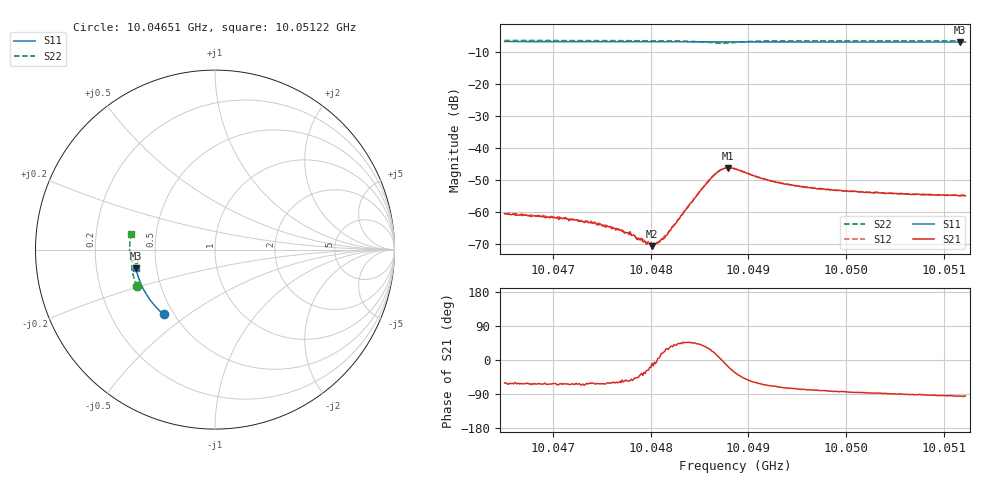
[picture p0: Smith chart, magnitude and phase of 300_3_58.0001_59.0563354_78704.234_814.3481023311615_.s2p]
#  HZ  S  RI  R  50.00
! Rohde & Schwarz Vector Network Analyzer
! Rohde-Schwarz,ZNB20-2Port,1311601062101988,3.16
! Created: UTC 3/21/2024, 1:03:46 AM
! freq[Hz]  re:S11  im:S11  re:S21  im:S21  re:S12  im:S12  re:S22  im:S22
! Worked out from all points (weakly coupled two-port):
!   401 points, 10.04651 GHz to 10.05122 GHz, reference 50 ohm
!   highest |S21| = -46.21 dB at 10.04879 GHz (marker M1); lowest = -70.6 dB at 10.04802 GHz (marker M2)
!   lowest |S11| = -6.9 dB at 10.05116 GHz (marker M3), VSWR 2.65, Z = 19.1 - j4.98 ohm
!   |S11| at or under -10 dB: nowhere
!   |S22| runs from -7.3 to -6.4 dB; largest |S21 - S12| = 0.00034
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1.0046509e10  -0.2862 -0.3615  0.000463 -0.000822  0.000526 -0.000782  -0.4338 -0.2045
1.0047074e10  -0.3138 -0.3361  0.000371 -0.000725  0.000409 -0.000718  -0.4477 -0.1689
1.0047297e10  -0.324 -0.3256  0.000297 -0.000658  0.000382 -0.000653  -0.4526 -0.1544
1.0047415e10  -0.3294 -0.3199  0.000319 -0.000587  0.00033 -0.000579  -0.4548 -0.1464
1.0047686e10  -0.3412 -0.3065  0.000288 -0.000432  0.000311 -0.000446  -0.4594 -0.1279
1.0047815e10  -0.3465 -0.2998  0.000255 -0.000351  0.000286 -0.000314  -0.4612 -0.1185
1.0047944e10  -0.3518 -0.2931  0.000294 -0.000211  0.000312 -0.000154  -0.4626 -0.1088
1.0048015e10  -0.3547 -0.2894  0.00029 -4.53e-05  0.000317 -6.63e-05  -0.4633 -0.1033
1.0048039e10  -0.3556 -0.2883  0.000303 -3.06e-05  0.000332 -4.73e-05  -0.4633 -0.1013
1.0048086e10  -0.3575 -0.2856  0.000337 2.86e-05  0.000352 2.98e-05  -0.4635 -0.0977
1.0048156e10  -0.3604 -0.2819  0.000377 0.000212  0.00039 0.000193  -0.4637 -0.0919
1.0048497e10  -0.3732 -0.2635  0.00154 0.00137  0.00147 0.00145  -0.4547 -0.0603
1.0048615e10  -0.3773 -0.2569  0.003 0.00151  0.00294 0.00169  -0.4411 -0.0536
1.0048709e10  -0.3803 -0.2518  0.00447 0.000356  0.00449 0.000612  -0.4292 -0.0603
1.0048792e10  -0.3832 -0.2475  0.00467 -0.00146  0.00482 -0.00121  -0.4303 -0.0729
1.0048862e10  -0.3857 -0.2434  0.00394 -0.00258  0.00415 -0.00237  -0.4394 -0.0783
1.0049227e10  -0.3976 -0.2225  0.00112 -0.00284  0.00131 -0.00281  -0.4684 -0.0531
1.004965e10  -0.4099 -0.1975  0.00046 -0.00235  0.000594 -0.00232  -0.4747 -0.0194
1.004998e10  -0.4184 -0.1778  0.000233 -0.00213  0.000377 -0.00213  -0.4757 0.00441
1.0050439e10  -0.4286 -0.1492  1.82e-05 -0.00196  0.000182 -0.00197  -0.4741 0.0361
1.0051157e10  -0.4406 -0.1039  -0.00016 -0.00178  -6.04e-05 -0.00181  -0.468 0.0837
1.0051215e10  -0.4415 -0.1002  -0.000169 -0.00178  -8.62e-05 -0.00184  -0.4671 0.0877
